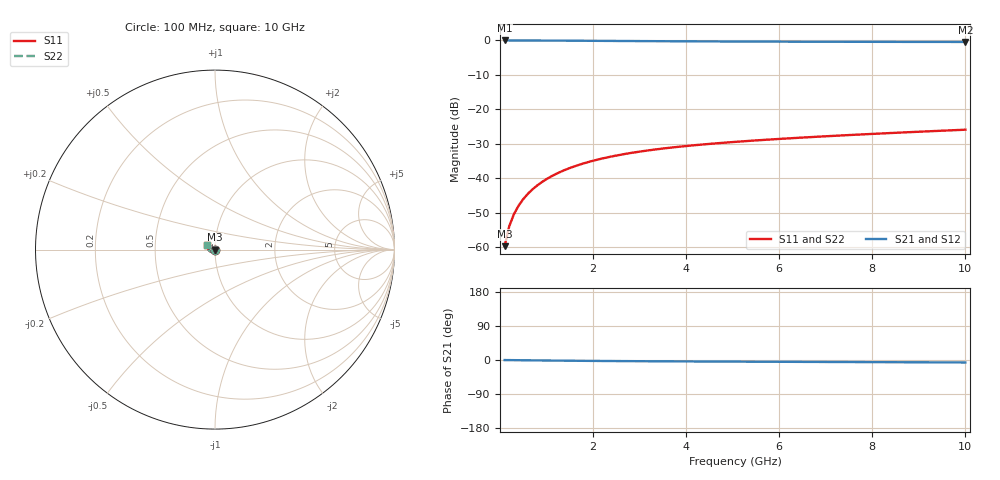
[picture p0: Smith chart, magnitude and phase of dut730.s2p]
! Touchstone file exported from HFSS 2024.1.0
!  File:  C:/UserFiles/LocalFiles/RDL_TSV_Batchsim/temp_TSV1_730_1779869120.aedt
!  Generated:  04:15:45 PM May 27, 2026
!  Design:  TSV1
!  Project:  temp_TSV1_730_1779869120
!  Setup:  Setup1
!  Solution:  Sweep
! Variables:
!  dtsv = 7.64um
!  hbump = 3um
!  htsv = 99.47um
!  lrdl = 252.1521522um
!  p = 40
!  p1 = 57.7um
!  t = 500um
!  trdl = 3um
!  wrdl = 24.89489489um
# GHz S MA R 50.000000
! Terminal data exported
! Port[1] = TSV22_T1
! Port[2] = TSV22_T2
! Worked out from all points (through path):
!   100 points, 100 MHz to 10 GHz, reference 50 ohm
!   highest |S21| = 0.00 dB at 100 MHz (marker M1); lowest = -0.4 dB at 10 GHz (marker M2)
!   lowest |S11| = -59.8 dB at 100 MHz (marker M3), VSWR 1.00, Z = 50 - j0.0998 ohm
!   |S11| at or under -10 dB: start of sweep to end of sweep
!   |S22| runs from -59.8 to -25.9 dB; largest |S21 - S12| = 6.9e-15
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0.1  0.001027 -76.2  0.9997 -0.1  0.9997 -0.1  0.001027 -76.2
! Gamma 0 0 0 0
! Port Impedance 50 0 50 0
0.2  0.002006 -86.2  0.9995 -0.3  0.9995 -0.3  0.002006 -86.2
0.3  0.002992 -91.1  0.9993 -0.4  0.9993 -0.4  0.002992 -91.1
0.4  0.003976 -94.7  0.9991 -0.6  0.9991 -0.6  0.003976 -94.7
0.5  0.004953 -97.7  0.9987 -0.7  0.9987 -0.7  0.004953 -97.7
0.6  0.005921 -100.4  0.9983 -0.8  0.9983 -0.8  0.005921 -100.4
0.7  0.006878 -103.0  0.9978 -0.9  0.9978 -0.9  0.006878 -103.0
0.8  0.007824 -105.4  0.9973 -1.1  0.9973 -1.1  0.007824 -105.4
0.9  0.008756 -107.8  0.9967 -1.2  0.9967 -1.2  0.008756 -107.8
1.1  0.01057 -112.3  0.9953 -1.4  0.9953 -1.4  0.01057 -112.3
1.4  0.01318 -118.8  0.993 -1.8  0.993 -1.8  0.01318 -118.8
1.6  0.01482 -122.9  0.9913 -2.0  0.9913 -2.0  0.01482 -122.9
1.8  0.01638 -126.8  0.9895 -2.2  0.9895 -2.2  0.01638 -126.8
2.1  0.01859 -132.4  0.9867 -2.5  0.9867 -2.5  0.01859 -132.4
2.5  0.02127 -139.5  0.983 -2.8  0.983 -2.8  0.02127 -139.5
2.9  0.02369 -146.0  0.9795 -3.1  0.9795 -3.1  0.02369 -146.0
3.4  0.02639 -153.5  0.9754 -3.4  0.9754 -3.4  0.02639 -153.5
4.2  0.03014 -164.1  0.9697 -3.9  0.9697 -3.9  0.03014 -164.1
5.1  0.03379 -174.3  0.9647 -4.3  0.9647 -4.3  0.03379 -174.3
6.7  0.03951 171.0  0.9582 -5.0  0.9582 -5.0  0.03951 171.0
8.4  0.0452 158.7  0.9537 -5.8  0.9537 -5.8  0.04521 158.7
10  0.05051 149.4  0.9507 -6.5  0.9507 -6.5  0.05051 149.4
